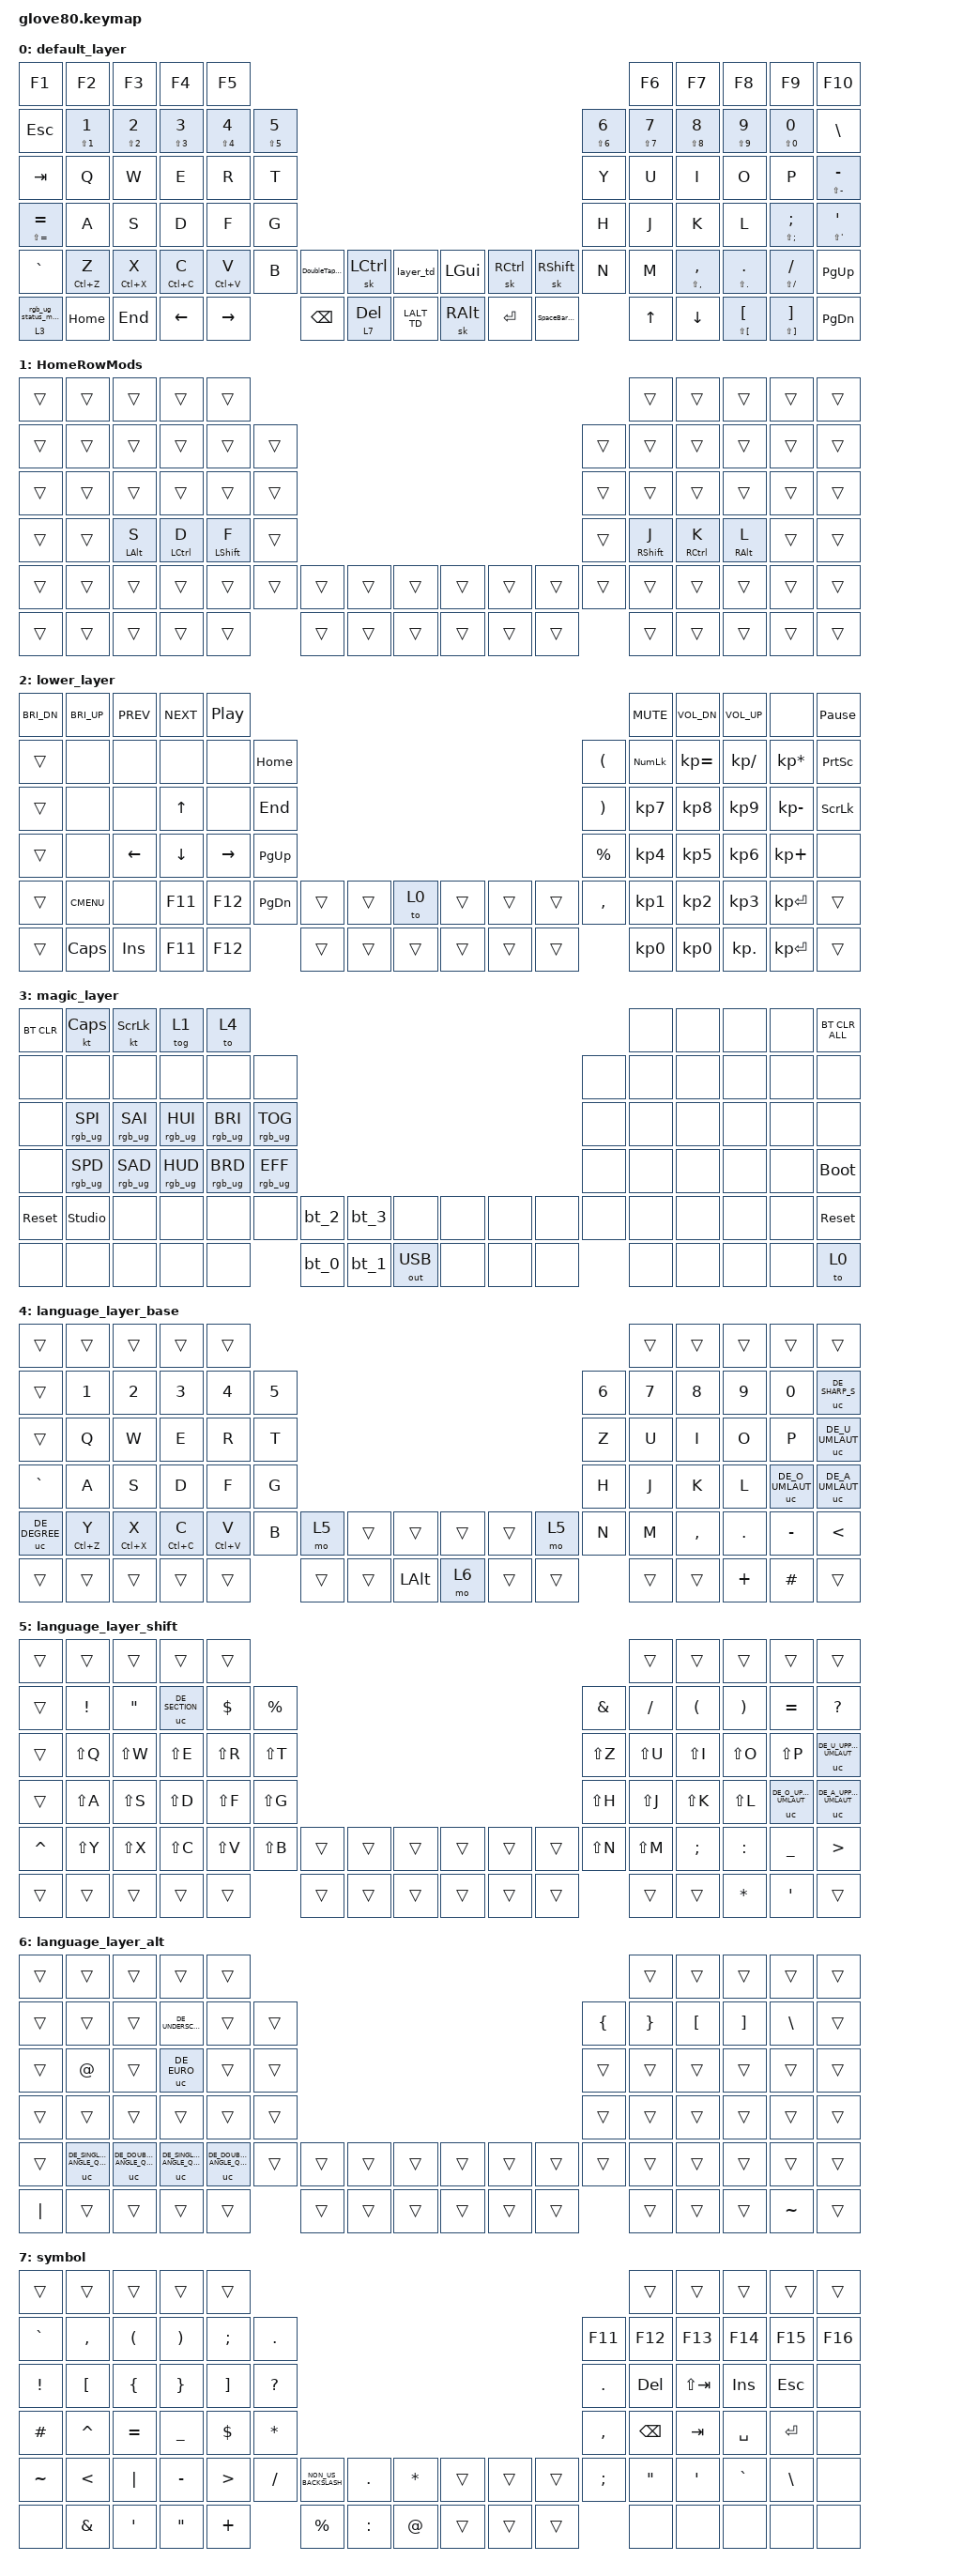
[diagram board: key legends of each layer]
/*
 * Copyright (c) 2020 The ZMK Contributors
 *
 * SPDX-License-Identifier: MIT
 */

#include <dt-bindings/zmk/rgb_colors.h>
#include <behaviors/unicode.dtsi>
#include <behaviors.dtsi>
#include <dt-bindings/zmk/bt.h>
#include <dt-bindings/zmk/keys.h>
#include <dt-bindings/zmk/outputs.h>
#include <dt-bindings/zmk/rgb.h>
#include "keys_de.h"

#define HYPER LC(LS(LG(LALT)))

&uc {
    default-mode = <UC_MODE_WIN_COMPOSE>;
    minimum-length = <4>;
};

// layers

#define DEFAULT 0
#define HRM 1
#define LOWER 2
#define MAGIC 3
#define LANGUAGE 4
#define LANGUAGE_SHIFT 5
#define LANGUAGE_ALT 6
#define SYMBOLS 7

/* To deal with the situation where there is no Lower layer, to keep &lower happy */

#ifndef LAYER_Lower

#define LAYER_Lower 0

#endif

/* Custom Device-tree */
/* Empty underglow layer definition (for copy-paste)
        mylayer {
            bindings = <
                &ug ___ &ug ___ &ug ___ &ug ___ &ug ___                                                                  &ug ___ &ug ___ &ug ___ &ug ___ &ug ___
                &ug ___ &ug ___ &ug ___ &ug ___ &ug ___ &ug ___                                                  &ug ___ &ug ___ &ug ___ &ug ___ &ug ___ &ug ___
                &ug ___ &ug ___ &ug ___ &ug ___ &ug ___ &ug ___                                                  &ug ___ &ug ___ &ug ___ &ug ___ &ug ___ &ug ___
                &ug ___ &ug ___ &ug ___ &ug ___ &ug ___ &ug ___                                                  &ug ___ &ug ___ &ug ___ &ug ___ &ug ___ &ug ___
                &ug ___ &ug ___ &ug ___ &ug ___ &ug ___ &ug ___ &ug ___ &ug ___ &ug ___  &ug ___ &ug ___ &ug ___ &ug ___ &ug ___ &ug ___ &ug ___ &ug ___ &ug ___
                &ug ___ &ug ___ &ug ___ &ug ___ &ug ___         &ug ___ &ug ___ &ug ___  &ug ___ &ug ___ &ug ___         &ug ___ &ug ___ &ug ___ &ug ___ &ug ___
                >;
            layer-id = <LAYER_Name>;
        };
*/

#define LBAT &uglowbat 0x800000 BLACK // #800000
#define BAT1 &ug_b2 BLACK 0x804d00 // #808000
#define BAT2 &ug_b4 BLACK 0x808000 // #804d00
#define BAT3 &ug_b6 BLACK 0x008000 // #008000
#define BAT4 &ug_b8 BLACK 0xafafaf // #afafaf
#define CAPSL &ug_cl ___ TEAL
#define NUMI  &ug_nl WHITE ORANGE
#define NUML  &ug_nl RED YELLOW
#define LL1 0xFF0000
#define LL2 0xFF3333
#define LL3 0xFF6666

/ {
    underglow-layer {
        compatible = "zmk,underglow-layer";

        base {
            bindings = <
    &ug ___ &ug ___ &ug ___  &ug ___  &ug ___                                                                &ug ___  &ug ___  &ug ___  &ug ___  &ug ___
    &ug ___ CAPSL   CAPSL    CAPSL    CAPSL    CAPSL                                                  CAPSL  CAPSL    CAPSL    CAPSL    CAPSL    &ug ___
    &ug ___ CAPSL   CAPSL    CAPSL    CAPSL    CAPSL                                                  CAPSL  CAPSL    CAPSL    CAPSL    &ug ___  &ug ___
    &ug ___ CAPSL   CAPSL    CAPSL    CAPSL    CAPSL                                                  CAPSL  CAPSL    CAPSL    CAPSL    CAPSL    &ug ___
    &ug ___ CAPSL   CAPSL    CAPSL    CAPSL    CAPSL &ug ___ &ug ___ &ug ___  &ug ___ &ug ___ &ug ___ CAPSL  CAPSL    &ug ___  &ug ___  &ug ___  &ug ___
    LBAT    &ug ___ &ug ___  &ug ___  &ug ___        &ug ___ &ug ___ &ug ___  &ug ___ &ug ___ &ug ___        &ug ___  &ug ___  &ug ___  &ug ___  LBAT
            >;

            layer-id = <DEFAULT>;
        };

        hrm {
            bindings = <
    &ug BLUE CAPSL  &ug ___ &ug ___ &ug ___                                                                      &ug ___  &ug ___  &ug ___   &ug ___ &ug ___
    &ug ___ &ug ___ &ug ___ &ug ___ &ug ___ &ug ___                                                      &ug ___ &ug ___  &ug ___  &ug ___   &ug ___ &ug ___
    &ug ___ &ug ___ &ug ___ &ug ___ &ug ___ &ug ___                                                      &ug ___ &ug ___  &ug ___  &ug ___   &ug ___ &ug ___
    &ug ___ &ug ___ &ug GREEN &ug BLUE &ug TEAL &ug ___                                                  &ug ___ &ug TEAL &ug BLUE &ug GREEN &ug ___ &ug ___
    &ug ___ &ug ___ &ug ___ &ug ___ &ug ___ &ug ___ &ug TEAL &ug BLUE &ug ___  &ug ___ &ug BLUE &ug TEAL &ug ___ &ug ___  &ug ___  &ug ___   &ug ___ &ug ___
    LBAT    &ug ___ &ug ___ &ug ___ &ug ___         &ug ___ &ug ___ &ug GREEN  &ug GREEN &ug ___ &ug ___         &ug ___  &ug ___  &ug ___   &ug ___ &ug ___
            >;

            layer-id = <HRM>;
        };

        lower {
            bindings = <
    &ug ___    &ug ___  &ug ___    &ug ___    &ug ___                                                                                 &ug ___  &ug ___     &ug ___    &ug ___     &ug ___
    &ug PURPLE &ug PINK &ug PINK   &ug   PINK &ug   PINK &ug PINK                                                             &ug ___ NUMI     &ug ORANGE  &ug ORANGE &ug ORANGE  &ug RED
    &ug PURPLE &ug ___  &ug ___    &ug ORANGE &ug ___    &ug ___                                                              &ug ___ NUML     NUML        NUML       &ug ORANGE  &ug ___
    &ug PURPLE &ug ___  &ug ORANGE &ug    RED &ug ORANGE &ug ___                                                              &ug ___ NUML     NUML        NUML       &ug ORANGE  &ug ___
    &ug BLUE   &ug ___  &ug RED    &ug    RED &ug    RED &ug ___  &ug_cl BLUE TEAL &ug ___   &ug ___  &ug ___ &ug ___ &ug ___ &ug ___ NUML     NUML        NUML       &ug    RED  &ug BLUE
    &ug ___    &ug ___  &ug ORANGE &ug ORANGE &ug ORANGE          &ug ___          &ug GREEN &ug ___  &ug ___ &ug ___ &ug ___         NUML     NUML        &ug ORANGE &ug    RED  &ug ___
            >;

            layer-id = <LOWER>;
        };

        languageLayer {
            bindings = <
    &ug LL1 CAPSL   &ug LL1 &ug LL1 &ug LL1                                                                  &ug LL1 &ug LL1 &ug LL1 &ug LL1 &ug LL1
    &ug ___ &ug ___ &ug ___ &ug ___ &ug ___ &ug ___                                                  &ug ___ &ug ___ &ug ___ &ug ___ &ug ___ &ug ___
    &ug ___ &ug ___ &ug ___ &ug ___ &ug ___ &ug ___                                                  &ug ___ &ug ___ &ug ___ &ug ___ &ug ___ &ug ___
    &ug ___ &ug ___ &ug ___ &ug ___ &ug ___ &ug ___                                                  &ug ___ &ug ___ &ug ___ &ug ___ &ug ___ &ug ___
    &ug ___ &ug ___ &ug ___ &ug ___ &ug ___ &ug ___ &ug ___ &ug ___ &ug ___  &ug ___ &ug ___ &ug ___ &ug ___ &ug ___ &ug ___ &ug ___ &ug ___ &ug ___
    LBAT &ug ___ &ug ___ &ug ___ &ug ___         &ug ___ &ug ___ &ug ___  &ug ___ &ug ___ &ug ___         &ug ___ &ug ___ &ug ___ &ug ___ &ug ___
            >;

            layer-id = <LANGUAGE>;
        };

        languageShiftLayer {
            bindings = <
    &ug LL2 CAPSL   &ug LL2 &ug LL2 &ug LL2                                                                  &ug LL2 &ug LL2 &ug LL2 &ug LL2 &ug LL2
    &ug ___ &ug ___ &ug ___ &ug ___ &ug ___ &ug ___                                                  &ug ___ &ug ___ &ug ___ &ug ___ &ug ___ &ug ___
    &ug ___ &ug ___ &ug ___ &ug ___ &ug ___ &ug ___                                                  &ug ___ &ug ___ &ug ___ &ug ___ &ug ___ &ug ___
    &ug ___ &ug ___ &ug ___ &ug ___ &ug ___ &ug ___                                                  &ug ___ &ug ___ &ug ___ &ug ___ &ug ___ &ug ___
    &ug ___ &ug ___ &ug ___ &ug ___ &ug ___ &ug ___ &ug ___ &ug ___ &ug ___  &ug ___ &ug ___ &ug ___ &ug ___ &ug ___ &ug ___ &ug ___ &ug ___ &ug ___
    LBAT    &ug ___ &ug ___ &ug ___ &ug ___         &ug ___ &ug ___ &ug ___  &ug ___ &ug ___ &ug ___         &ug ___ &ug ___ &ug ___ &ug ___ &ug ___
            >;

            layer-id = <LANGUAGE_SHIFT>;
        };

        languageAltLayer {
            bindings = <
    &ug LL3 CAPSL   &ug LL3 &ug LL3 &ug LL3                                                                  &ug LL3 &ug LL3 &ug LL3 &ug LL3 &ug LL3
    &ug ___ &ug ___ &ug ___ &ug ___ &ug ___ &ug ___                                                  &ug ___ &ug ___ &ug ___ &ug ___ &ug ___ &ug ___
    &ug ___ &ug ___ &ug ___ &ug ___ &ug ___ &ug ___                                                  &ug ___ &ug ___ &ug ___ &ug ___ &ug ___ &ug ___
    &ug ___ &ug ___ &ug ___ &ug ___ &ug ___ &ug ___                                                  &ug ___ &ug ___ &ug ___ &ug ___ &ug ___ &ug ___
    &ug ___ &ug ___ &ug ___ &ug ___ &ug ___ &ug ___ &ug ___ &ug ___ &ug ___  &ug ___ &ug ___ &ug ___ &ug ___ &ug ___ &ug ___ &ug ___ &ug ___ &ug ___
    LBAT    &ug ___ &ug ___ &ug ___ &ug ___         &ug ___ &ug ___ &ug ___  &ug ___ &ug ___ &ug ___         &ug ___ &ug ___ &ug ___ &ug ___ &ug ___
            >;

            layer-id = <LANGUAGE_ALT>;
        };

        symbolLayer {
            bindings = <
    &ug ___ &ug ___ &ug ___ &ug ___ &ug ___                                                                  &ug ___ &ug ___ &ug ___ &ug ___ &ug ___
    &ug ___ &ug ___ &ug ___ &ug ___ &ug ___ &ug ___                                                  &ug ___ &ug ___ &ug ___ &ug ___ &ug ___ &ug ___
    &ug ___ &ug ___ &ug ___ &ug ___ &ug ___ &ug ___                                                  &ug ___ &ug ___ &ug ___ &ug ___ &ug ___ &ug ___
    &ug ___ &ug ___ &ug ___ &ug ___ &ug ___ &ug ___                                                  &ug ___ &ug ___ &ug ___ &ug ___ &ug ___ &ug ___
    &ug ___ &ug ___ &ug ___ &ug ___ &ug ___ &ug ___ &ug ___ &ug ___ &ug ___  &ug ___ &ug ___ &ug ___ &ug ___ &ug ___ &ug ___ &ug ___ &ug ___ &ug ___
    &ug ___ &ug ___ &ug ___ &ug ___ &ug ___         &ug ___ &ug ___ &ug ___  &ug ___ &ug ___ &ug ___         &ug ___ &ug ___ &ug ___ &ug ___ &ug ___
            >;

            layer-id = <SYMBOLS>;
        };
    };
};

&sk { quick-release; };

/ {
    behaviors {
        // For the "layer" key, it'd nice to be able to use it as either a shift or a toggle.
        // Configure it as a tap dance, so the first tap (or hold) is a &mo and the second tap is a &to

        layer_td: tap_dance_0 {
            compatible = "zmk,behavior-tap-dance";
            label = "LAYER_TAP_DANCE";
            #binding-cells = <0>;
            tapping-term-ms = <350>;
            bindings = <&mo 2>, <&to 2>;
        };

        magic: magic_hold_tap {
            compatible = "zmk,behavior-hold-tap";
            label = "MAGIC_HOLD_TAP";
            #binding-cells = <2>;
            flavor = "tap-preferred";
            tapping-term-ms = <200>;
            bindings = <&mo>, <&rgb_ug_status_macro>;
        };

        DoubleTapShift: DoubleTapShift {
            compatible = "zmk,behavior-tap-dance";
            label = "DOUBLETAPSHIFT";
            #binding-cells = <0>;
            bindings = <&sk LEFT_SHIFT>, <&caps_word>, <&kt CAPSLOCK>;

            tapping-term-ms = <500>;
        };

        SpaceBarTapDance: SpaceBarTapDance {
            compatible = "zmk,behavior-tap-dance";
            label = "SPACEBARTAPDANCE";
            #binding-cells = <0>;
            bindings = <&kp SPACE>, <&double_space_period>;
        };

        ShiftHold: ShiftHold {
            compatible = "zmk,behavior-hold-tap";
            label = "SHIFTHOLD";
            bindings = <&kp>, <&kp>;

            #binding-cells = <2>;
            tapping-term-ms = <300>;
            quick-tap-ms = <175>;
            require-prior-idle-ms = <150>;
            flavor = "balanced";
        };

        uglowbat: uglowbat {
            compatible = "zmk,behavior-underglow-battery";
            threshold = <30>;
            #binding-cells = <2>;
        };

        layerHoldTap: layerHoldTap {
            compatible = "zmk,behavior-hold-tap";
            label = "LAYERHOLDTAP";
            #binding-cells = <2>;
            flavor = "tap-preferred";
            tapping-term-ms = <200>;
            bindings = <&mo>, <&kp>;
        };

        HRM_Left: HRM_Left {
            compatible = "zmk,behavior-hold-tap";
            label = "HRM_LEFT";
            bindings = <&kp>, <&kp>;

            #binding-cells = <2>;
            flavor = "balanced";
            tapping-term-ms = <500>;
            quick-tap-ms = <175>;
            require-prior-idle-ms = <150>;
            hold-trigger-key-positions = <58 40 28 16 17 29 5 6 7 8 9 17 18 19 20 21 29 30 31 32 33 41 42 43 44 45 59 60 61 62 63 75 76 77 55 56 72 73 74 78 79 57 52 53 54 71 70 69>;
            hold-trigger-on-release;
        };

        HRM_Right: HRM_Right {
            compatible = "zmk,behavior-hold-tap";
            label = "HRM_RIGHT";
            bindings = <&kp>, <&kp>;

            #binding-cells = <2>;
            flavor = "balanced";
            tapping-term-ms = <500>;
            quick-tap-ms = <175>;
            require-prior-idle-ms = <150>;
            hold-trigger-key-positions = <0 1 2 3 4 10 11 12 13 14 15 22 23 24 25 26 27 34 35 36 37 38 39 46 47 48 49 50 51 52 53 54 64 65 66 67 68 69 70 71 55 56 73 74 57 72>;
            hold-trigger-on-release;
        };

        Space_HT: Space_HT {
            compatible = "zmk,behavior-hold-tap";
            label = "SPACE_HT";
            bindings = <&mo>, <&SpaceBarTapDance>;

            #binding-cells = <2>;
            tapping-term-ms = <250>;
            quick-tap-ms = <150>;
            require-prior-idle-ms = <150>;
        };

        LALT_TD: LALT_TD {
            compatible = "zmk,behavior-tap-dance";
            label = "LALT_TD";
            #binding-cells = <0>;
            bindings = <&sk LEFT_ALT>, <&kp SPACE>;
        };
    };

    macros {
        rgb_ug_status_macro: rgb_ug_status_macro_0 {
            label = "RGB_UG_STATUS";
            compatible = "zmk,behavior-macro";
            #binding-cells = <0>;
            bindings = <&rgb_ug RGB_STATUS>;
        };

        bt_0: bt_profile_macro_0 {
            label = "BT_0";
            compatible = "zmk,behavior-macro";
            #binding-cells = <0>;
            bindings = <&out OUT_BLE &bt BT_SEL 0>;
        };

        bt_1: bt_profile_macro_1 {
            label = "BT_1";
            compatible = "zmk,behavior-macro";
            #binding-cells = <0>;
            bindings = <&out OUT_BLE &bt BT_SEL 1>;
        };

        bt_2: bt_profile_macro_2 {
            label = "BT_2";
            compatible = "zmk,behavior-macro";
            #binding-cells = <0>;
            bindings = <&out OUT_BLE &bt BT_SEL 2>;
        };

        bt_3: bt_profile_macro_3 {
            label = "BT_3";
            compatible = "zmk,behavior-macro";
            #binding-cells = <0>;
            bindings = <&out OUT_BLE &bt BT_SEL 3>;
        };

        double_space_period: double_space_period {
            compatible = "zmk,behavior-macro";
            #binding-cells = <0>;
            bindings = <&kp DOT &kp SPACE &sk LSHIFT>;
            label = "DOUBLE_SPACE_PERIOD";
        };

        shiftPressKey: shiftPressKey {
            compatible = "zmk,behavior-macro-one-param";
            #binding-cells = <1>;
            bindings = <&macro_param_1to1 &kp MACRO_PLACEHOLDER>;
            label = "SHIFTPRESSKEY";
        };
    };

    combos {
        compatible = "zmk,combos";

        CapLock {
            bindings = <&kt CAPSLOCK>;
            key-positions = <52 57>;
            timeout-ms = <300>;
            layers = <0>;
            require-prior-idle-ms = <150>;
        };

        f11_Alt {
            bindings = <&kp F11>;
            key-positions = <8 20>;
            layers = <0>;
            timeout-ms = <150>;
        };

        f12_Alt {
            bindings = <&kp F12>;
            key-positions = <9 21>;
            timeout-ms = <150>;
            layers = <0>;
        };
    };

    /* #define for key positions */

    #define POS_LH_T1 52
#define POS_LH_T2 53
#define POS_LH_T3 54
#define POS_LH_T4 69
#define POS_LH_T5 70
#define POS_LH_T6 71
#define POS_LH_C1R2 15
#define POS_LH_C1R3 27
#define POS_LH_C1R4 39
#define POS_LH_C1R5 51
#define POS_LH_C2R1 4
#define POS_LH_C2R2 14
#define POS_LH_C2R3 26
#define POS_LH_C2R4 38
#define POS_LH_C2R5 50
#define POS_LH_C2R6 68
#define POS_LH_C3R1 3
#define POS_LH_C3R2 13
#define POS_LH_C3R3 25
#define POS_LH_C3R4 37
#define POS_LH_C3R5 49
#define POS_LH_C3R6 67
#define POS_LH_C4R1 2
#define POS_LH_C4R2 12
#define POS_LH_C4R3 24
#define POS_LH_C4R4 36
#define POS_LH_C4R5 48
#define POS_LH_C4R6 66
#define POS_LH_C5R1 1
#define POS_LH_C5R2 11
#define POS_LH_C5R3 23
#define POS_LH_C5R4 35
#define POS_LH_C5R5 47
#define POS_LH_C5R6 65
#define POS_LH_C6R1 0
#define POS_LH_C6R2 10
#define POS_LH_C6R3 22
#define POS_LH_C6R4 34
#define POS_LH_C6R5 46
#define POS_LH_C6R6 64
#define POS_RH_T1 57
#define POS_RH_T2 56
#define POS_RH_T3 55
#define POS_RH_T4 74
#define POS_RH_T5 73
#define POS_RH_T6 72
#define POS_RH_C1R2 16
#define POS_RH_C1R3 28
#define POS_RH_C1R4 40
#define POS_RH_C1R5 58
#define POS_RH_C2R1 5
#define POS_RH_C2R2 17
#define POS_RH_C2R3 29
#define POS_RH_C2R4 41
#define POS_RH_C2R5 59
#define POS_RH_C2R6 75
#define POS_RH_C3R1 6
#define POS_RH_C3R2 18
#define POS_RH_C3R3 30
#define POS_RH_C3R4 42
#define POS_RH_C3R5 60
#define POS_RH_C3R6 76
#define POS_RH_C4R1 7
#define POS_RH_C4R2 19
#define POS_RH_C4R3 31
#define POS_RH_C4R4 43
#define POS_RH_C4R5 61
#define POS_RH_C4R6 77
#define POS_RH_C5R1 8
#define POS_RH_C5R2 20
#define POS_RH_C5R3 32
#define POS_RH_C5R4 44
#define POS_RH_C5R5 62
#define POS_RH_C5R6 78
#define POS_RH_C6R1 9
#define POS_RH_C6R2 21
#define POS_RH_C6R3 33
#define POS_RH_C6R4 45
#define POS_RH_C6R5 63
#define POS_RH_C6R6 79

    keymap {
        compatible = "zmk,keymap";

        default_layer {
            // ---------------------------------------------------------------------------------------------------------------------------------
            // |  F1   |  F2 |  F3 |  F4  |  F5  |                                                               |  F6   |  F7   |  F8  |   F9  |  F10 |
            // |  =    |  1  |  2  |  3   |  4   |  5   |                                                 |  6   |   7   |   8   |  9   |   0   |   -  |
            // |  TAB  |  Q  |  W  |  E   |  R   |  T   |                                                 |  Y   |   U   |   I   |  O   |   P   |   \  |
            // |  ESC  |  A  |  S  |  D   |  F   |  G   |                                                 |  H   |   J   |   K   |  L   |   ;   |   '  |
            // |   `   |  Z  |  X  |  C   |  V   |  B   | LSHFT | LCTRL | LOWER | | LGUI  | RCTRL | RSHFT |  N   |   M   |   ,   |  .   |   /   | PGUP |
            // | MAGIC | HOME| END | LEFT | RIGHT|      | BSPC  | DEL   | LALT  | | RALT  | RET   | SPACE |      |  UP   | DOWN  |  [   |   ]   | PGDN |

            bindings = <
&kp F1                      &kp F2                &kp F3                &kp F4                &kp F5                                                                                                                                                      &kp F6                &kp F7                      &kp F8                    &kp F9                    &kp F10
&kp ESC                     &ShiftHold LS(N1) N1  &ShiftHold LS(N2) N2  &ShiftHold LS(N3) N3  &ShiftHold LS(N4) N4  &ShiftHold LS(N5) N5                                                                                            &ShiftHold LS(N6) N6  &ShiftHold LS(N7) N7  &ShiftHold LS(N8) N8        &ShiftHold LS(N9) N9      &ShiftHold LS(N0) N0      &kp BACKSLASH
&kp TAB                     &kp Q                 &kp W                 &kp E                 &kp R                 &kp T                                                                                                           &kp Y                 &kp U                 &kp I                       &kp O                     &kp P                     &ShiftHold LS(MINUS) MINUS
&ShiftHold LS(EQUAL) EQUAL  &kp A                 &kp S                 &kp D                 &kp F                 &kp G                                                                                                           &kp H                 &kp J                 &kp K                       &kp L                     &ShiftHold LS(SEMI) SEMI  &ShiftHold LS(SQT) SQT
&kp GRAVE                   &ShiftHold LC(Z) Z    &ShiftHold LC(X) X    &ShiftHold LC(C) C    &ShiftHold LC(V) V    &kp B                 &DoubleTapShift  &sk LCTRL            &layer_td  &kp LGUI  &sk RCTRL   &sk RSHFT          &kp N                 &kp M                 &ShiftHold LS(COMMA) COMMA  &ShiftHold LS(DOT) DOT    &ShiftHold LS(FSLH) FSLH  &kp PG_UP
&magic 3 0                  &kp HOME              &kp END               &kp LEFT              &kp RIGHT                                   &kp BACKSPACE    &layerHoldTap 7 DEL  &LALT_TD   &sk RALT  &kp RETURN  &SpaceBarTapDance                        &kp UP                &kp DOWN                    &ShiftHold LS(LBKT) LBKT  &ShiftHold LS(RBKT) RBKT  &kp PG_DN
            >;
        };

        HomeRowMods {
            bindings = <
&trans  &trans  &trans            &trans             &trans                                                                                  &trans               &trans              &trans                  &trans  &trans
&trans  &trans  &trans            &trans             &trans                  &trans                                                  &trans  &trans               &trans              &trans                  &trans  &trans
&trans  &trans  &trans            &trans             &trans                  &trans                                                  &trans  &trans               &trans              &trans                  &trans  &trans
&trans  &trans  &HRM_Left LALT S  &HRM_Left LCTRL D  &HRM_Left LEFT_SHIFT F  &trans                                                  &trans  &HRM_Right RSHIFT J  &HRM_Right RCTRL K  &HRM_Right RIGHT_ALT L  &trans  &trans
&trans  &trans  &trans            &trans             &trans                  &trans  &trans  &trans  &trans  &trans  &trans  &trans  &trans  &trans               &trans              &trans                  &trans  &trans
&trans  &trans  &trans            &trans             &trans                          &trans  &trans  &trans  &trans  &trans  &trans          &trans               &trans              &trans                  &trans  &trans
            >;
        };

        lower_layer {
            bindings = <
&kp C_BRI_DN  &kp C_BRI_UP  &kp C_PREV  &kp C_NEXT  &kp C_PP                                                                         &kp C_MUTE  &kp C_VOL_DN  &kp C_VOL_UP   &none            &kp PAUSE_BREAK
&trans        &none         &none       &none       &none      &kp HOME                                                   &kp LPAR   &kp KP_NUM  &kp KP_EQUAL  &kp KP_DIVIDE  &kp KP_MULTIPLY  &kp PSCRN
&trans        &none         &none       &kp UP      &none      &kp END                                                    &kp RPAR   &kp KP_N7   &kp KP_N8     &kp KP_N9      &kp KP_MINUS     &kp SLCK
&trans        &none         &kp LEFT    &kp DOWN    &kp RIGHT  &kp PG_UP                                                  &kp PRCNT  &kp KP_N4   &kp KP_N5     &kp KP_N6      &kp KP_PLUS      &none
&trans        &kp K_CMENU   &none       &kp F11     &kp F12    &kp PG_DN  &trans  &trans  &to 0   &trans  &trans  &trans  &kp COMMA  &kp KP_N1   &kp KP_N2     &kp KP_N3      &kp KP_ENTER     &trans
&trans        &kp CAPS      &kp INS     &kp F11     &kp F12               &trans  &trans  &trans  &trans  &trans  &trans             &kp KP_N0   &kp KP_N0     &kp KP_DOT     &kp KP_ENTER     &trans
            >;
        };

        magic_layer {
            bindings = <
&bt BT_CLR  &kt CAPSLOCK     &kt SCROLLLOCK   &tog 1           &to 4                                                                                     &none  &none  &none  &none  &bt BT_CLR_ALL
&none       &none            &none            &none            &none            &none                                                             &none  &none  &none  &none  &none  &none
&none       &rgb_ug RGB_SPI  &rgb_ug RGB_SAI  &rgb_ug RGB_HUI  &rgb_ug RGB_BRI  &rgb_ug RGB_TOG                                                   &none  &none  &none  &none  &none  &none
&none       &rgb_ug RGB_SPD  &rgb_ug RGB_SAD  &rgb_ug RGB_HUD  &rgb_ug RGB_BRD  &rgb_ug RGB_EFF                                                   &none  &none  &none  &none  &none  &bootloader
&sys_reset  &studio_unlock   &none            &none            &none            &none            &bt_2  &bt_3  &none         &none  &none  &none  &none  &none  &none  &none  &none  &sys_reset
&none       &none            &none            &none            &none                             &bt_0  &bt_1  &out OUT_USB  &none  &none  &none         &none  &none  &none  &none  &to 0
            >;
        };

        language_layer_base {
            bindings = <
&trans         &trans              &trans              &trans              &trans                                                                                &trans  &trans     &trans      &trans           &trans
&trans         &kp N1              &kp N2              &kp N3              &kp N4              &kp N5                                                    &kp N6  &kp N7  &kp N8     &kp N9      &kp N0           &uc DE_SHARP_S
&trans         &kp Q               &kp W               &kp E               &kp R               &kp T                                                     &kp Z   &kp U   &kp I      &kp O       &kp P            &uc DE_U_UMLAUT
&kp GRAVE      &kp A               &kp S               &kp D               &kp F               &kp G                                                     &kp H   &kp J   &kp K      &kp L       &uc DE_O_UMLAUT  &uc DE_A_UMLAUT
&uc DE_DEGREE  &ShiftHold LC(Z) Y  &ShiftHold LC(X) X  &ShiftHold LC(C) C  &ShiftHold LC(V) V  &kp B   &mo 5   &trans  &trans    &trans  &trans  &mo 5   &kp N   &kp M   &kp COMMA  &kp PERIOD  &kp MINUS        &kp LESS_THAN
&trans         &trans              &trans              &trans              &trans                      &trans  &trans  &kp LALT  &mo 6   &trans  &trans          &trans  &trans     &kp PLUS    &kp HASH         &trans
            >;
        };

        language_layer_shift {
            bindings = <
&trans     &trans     &trans             &trans          &trans                                                                              &trans     &trans                &trans                 &trans                 &trans
&trans     &kp EXCL   &kp DOUBLE_QUOTES  &uc DE_SECTION  &kp DOLLAR  &kp PERCENT                                                  &kp AMPS   &kp SLASH  &kp LEFT_PARENTHESIS  &kp RIGHT_PARENTHESIS  &kp EQUAL              &kp QUESTION
&trans     &kp LS(Q)  &kp LS(W)          &kp LS(E)       &kp LS(R)   &kp LS(T)                                                    &kp LS(Z)  &kp LS(U)  &kp LS(I)             &kp LS(O)              &kp LS(P)              &uc DE_U_UPPER_UMLAUT
&trans     &kp LS(A)  &kp LS(S)          &kp LS(D)       &kp LS(F)   &kp LS(G)                                                    &kp LS(H)  &kp LS(J)  &kp LS(K)             &kp LS(L)              &uc DE_O_UPPER_UMLAUT  &uc DE_A_UPPER_UMLAUT
&kp CARET  &kp LS(Y)  &kp LS(X)          &kp LS(C)       &kp LS(V)   &kp LS(B)    &trans  &trans  &trans  &trans  &trans  &trans  &kp LS(N)  &kp LS(M)  &kp SEMI              &kp COLON              &kp UNDER              &kp GREATER_THAN
&trans     &trans     &trans             &trans          &trans                   &trans  &trans  &trans  &trans  &trans  &trans             &trans     &trans                &kp ASTRK              &kp APOS               &trans
            >;
        };

        language_layer_alt {
            bindings = <
&trans    &trans                           &trans                           &trans                          &trans                                                                                            &trans    &trans    &trans    &trans         &trans
&trans    &trans                           &trans                           &kp DE_UNDERSCORE               &trans                          &trans                                                  &kp LBRC  &kp RBRC  &kp LBKT  &kp RBKT  &kp BACKSLASH  &trans
&trans    &kp AT                           &trans                           &uc DE_EURO                     &trans                          &trans                                                  &trans    &trans    &trans    &trans    &trans         &trans
&trans    &trans                           &trans                           &trans                          &trans                          &trans                                                  &trans    &trans    &trans    &trans    &trans         &trans
&trans    &uc DE_SINGLE_RIGHT_ANGLE_QUOTE  &uc DE_DOUBLE_RIGHT_ANGLE_QUOTE  &uc DE_SINGLE_LEFT_ANGLE_QUOTE  &uc DE_DOUBLE_LEFT_ANGLE_QUOTE  &trans  &trans  &trans  &trans  &trans  &trans  &trans  &trans    &trans    &trans    &trans    &trans         &trans
&kp PIPE  &trans                           &trans                           &trans                          &trans                                  &trans  &trans  &trans  &trans  &trans  &trans            &trans    &trans    &trans    &kp TILDE      &trans
            >;
        };

        symbol {
            bindings = <
&trans           &trans            &trans          &trans                 &trans                                                                                                               &trans             &trans          &trans      &trans         &trans
&kp GRAVE        &kp COMMA         &kp LPAR        &kp RIGHT_PARENTHESIS  &kp SEMICOLON      &kp PERIOD                                                                            &kp F11     &kp F12            &kp F13         &kp F14     &kp F15        &kp F16
&kp EXCLAMATION  &kp LEFT_BRACKET  &kp LEFT_BRACE  &kp RIGHT_BRACE        &kp RIGHT_BRACKET  &kp QUESTION                                                                          &kp PERIOD  &kp DELETE         &kp LS(TAB)     &kp INSERT  &kp ESC        &none
&kp HASH         &kp CARET         &kp EQUAL       &kp UNDERSCORE         &kp DOLLAR         &kp ASTERISK                                                                          &kp COMMA   &kp BACKSPACE      &kp TAB         &kp SPACE   &kp ENTER      &none
&kp TILDE        &kp LESS_THAN     &kp PIPE        &kp MINUS              &kp GREATER_THAN   &kp SLASH     &kp NON_US_BACKSLASH  &kp PERIOD  &kp ASTERISK  &trans  &trans  &trans  &kp SEMI    &kp DOUBLE_QUOTES  &kp APOSTROPHE  &kp GRAVE   &kp BACKSLASH  &none
&none            &kp AMPERSAND     &kp APOSTROPHE  &kp DOUBLE_QUOTES      &kp PLUS                         &kp PERCENT           &kp COLON   &kp AT_SIGN   &trans  &trans  &trans              &none              &none           &none       &none          &none
            >;
        };
    };
};
